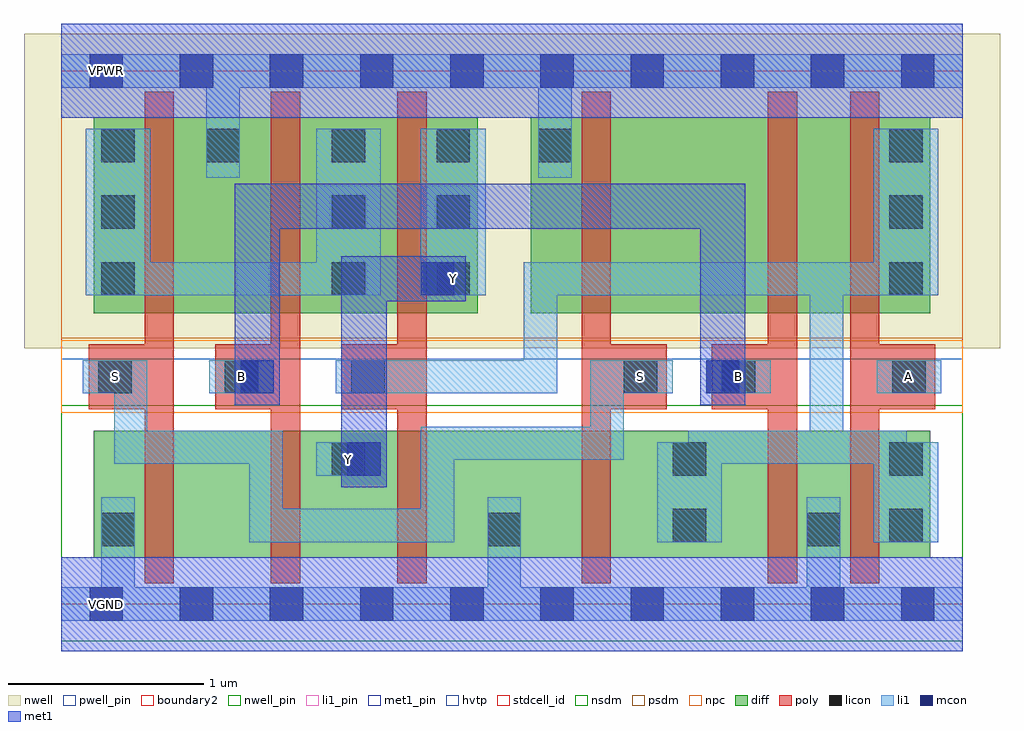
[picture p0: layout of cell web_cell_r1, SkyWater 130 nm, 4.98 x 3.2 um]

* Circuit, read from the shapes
.subckt web_cell_r1 A B S VGND VNB VPB VPWR Y
XM1 n1 S VGND VNB sky130_fd_pr__nfet_01v8 w=0.65 l=0.15
XM2 Y B n1 VNB sky130_fd_pr__nfet_01v8 w=0.65 l=0.15
XM3 VGND n2 Y VNB sky130_fd_pr__nfet_01v8 w=0.65 l=0.15
XM4 n2 S VGND VNB sky130_fd_pr__nfet_01v8 w=0.65 l=0.15
XM5 VGND B n2 VNB sky130_fd_pr__nfet_01v8 w=0.65 l=0.15
XM6 n2 A VGND VNB sky130_fd_pr__nfet_01v8 w=0.65 l=0.15
XM7 VPWR S n3 VPB sky130_fd_pr__pfet_01v8_hvt w=1 l=0.15
XM8 n3 B VPWR VPB sky130_fd_pr__pfet_01v8_hvt w=1 l=0.15
XM9 Y n2 n3 VPB sky130_fd_pr__pfet_01v8_hvt w=1 l=0.15
XM10 n4 S VPWR VPB sky130_fd_pr__pfet_01v8_hvt w=1 l=0.15
XM11 n5 B n4 VPB sky130_fd_pr__pfet_01v8_hvt w=1 l=0.15
XM12 n2 A n5 VPB sky130_fd_pr__pfet_01v8_hvt w=1 l=0.15
.ends

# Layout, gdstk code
import gdstk
lib = gdstk.Library(unit=1e-6, precision=1e-09)
def R(c, l, rs):  # rectangles x0, y0, x1, y1
    for r in rs: c.add(gdstk.rectangle(r[:2], r[2:], *l))
def A(c, l, x, y, w, h, nx, ny, dx, dy):  # array of equal rectangles
    R(c, l, [(x+i*dx, y+j*dy, x+i*dx+w, y+j*dy+h) for i in range(nx) for j in range(ny)])
nwell_pin = (64, 16)
nwell = (64, 20)
diff = (65, 20)
poly = (66, 20)
licon = (66, 44)
li1_pin = (67, 16)
li1 = (67, 20)
mcon = (67, 44)
met1_pin = (68, 16)
met1 = (68, 20)
hvtp = (78, 44)
stdcell_id = (81, 4)
nsdm = (93, 44)
psdm = (94, 20)
npc = (95, 20)
pwell_pin = (122, 16)
boundary2 = (236, 0)

web_cell_r1 = lib.new_cell('web_cell_r1')
R(web_cell_r1, nwell_pin, [(0.145,2.635,0.315,2.805)])
R(web_cell_r1, nwell, [(-0.19,1.305,4.79,2.91)])
R(web_cell_r1, diff, [(0.165,0.235,0.82,0.885), (0.82,0.235,1.47,0.885), (1.47,0.235,2.26,0.885), (2.26,0.235,3.205,0.885), (3.205,0.235,3.89,0.885), (3.89,0.235,4.435,0.885), (0.165,1.485,0.82,2.485), (0.82,1.485,1.47,2.485), (1.47,1.485,2.125,2.485), (2.395,1.485,3.205,2.485), (3.205,1.485,3.89,2.485), (3.89,1.485,4.435,2.485)])
A(web_cell_r1, poly, 0.425, 0.105, 0.15, 2.51, 3, 1, 0.645, 0)
A(web_cell_r1, poly, 0.14, 0.995, 0.435, 0.33, 3, 1, 0.645, 0)
R(web_cell_r1, poly, [(2.655,0.105,2.805,2.615), (3.605,0.105,3.755,2.615), (4.025,0.105,4.175,2.615), (2.655,0.995,3.09,1.325), (3.32,0.995,3.755,1.325), (4.025,0.995,4.46,1.325)])
A(web_cell_r1, licon, 0.19, 1.075, 0.17, 0.17, 3, 1, 0.645, 0)
A(web_cell_r1, licon, 0.205, 1.575, 0.17, 0.17, 1, 3, 0, 0.34)
A(web_cell_r1, licon, 1.38, 1.575, 0.17, 0.17, 1, 3, 0, 0.34)
A(web_cell_r1, licon, 1.915, 1.575, 0.17, 0.17, 1, 3, 0, 0.34)
A(web_cell_r1, licon, 4.225, 1.575, 0.17, 0.17, 1, 3, 0, 0.34)
R(web_cell_r1, licon, [(0.205,0.295,0.375,0.465), (2.175,0.295,2.345,0.465), (3.805,0.295,3.975,0.465), (3.12,0.315,3.29,0.485), (4.225,0.315,4.395,0.485), (1.38,0.655,1.55,0.825), (3.12,0.655,3.29,0.825), (4.225,0.655,4.395,0.825), (2.87,1.075,3.04,1.245), (3.37,1.075,3.54,1.245), (4.24,1.075,4.41,1.245), (0.74,2.255,0.91,2.425), (2.435,2.255,2.605,2.425)])
R(web_cell_r1, li1_pin, [(1.38,0.655,1.55,0.825), (0.19,1.075,0.36,1.245), (0.835,1.075,1.005,1.245), (2.87,1.075,3.04,1.245), (3.37,1.075,3.54,1.245), (4.24,1.075,4.41,1.245), (1.915,1.575,2.085,1.745)])
A(web_cell_r1, li1, 0.11, 1.075, 0.33, 0.17, 3, 1, 0.645, 0)
R(web_cell_r1, li1, [(0,-0.085,4.6,0.085), (0.205,-0.085,0.375,0.545), (2.175,-0.085,2.345,0.545), (3.805,-0.085,3.975,0.545), (0.96,0.315,1.13,0.885), (0.96,0.315,2.005,0.485), (1.835,0.315,2.005,0.905), (3.04,0.315,3.37,0.825), (4.145,0.315,4.475,0.825), (1.3,0.655,1.63,0.825), (3.04,0.655,3.37,0.825), (3.2,0.655,3.37,0.885), (4.145,0.655,4.475,0.825), (4.145,0.655,4.315,0.885), (0.27,0.715,0.44,1.245), (0.27,0.715,1.13,0.885), (3.2,0.715,3.99,0.885), (3.82,0.715,3.99,1.745), (3.82,0.715,4.315,0.885), (3.99,0.715,4.145,0.825), (3.99,0.715,4.145,0.825), (3.99,0.715,4.145,0.825), (3.99,0.715,4.145,0.825), (3.99,0.715,4.145,0.825), (3.99,0.715,4.145,0.825), (3.99,0.715,4.145,0.825), (3.99,0.715,4.145,0.825), (3.99,0.715,4.145,0.825), (3.99,0.715,4.145,0.825), (3.99,0.715,4.145,0.825), (3.99,0.715,4.145,0.825), (3.99,0.715,4.145,0.825), (3.99,0.715,4.145,0.825), (3.99,0.715,4.145,0.825), (3.99,0.715,4.145,0.825), (3.99,0.715,4.145,0.885), (3.99,0.715,4.145,0.885), (3.99,0.715,4.145,0.885), (3.99,0.715,4.145,0.885), (3.99,0.715,4.145,0.885), (3.99,0.715,4.145,0.885), (3.99,0.715,4.145,0.885), (3.99,0.715,4.145,0.885), (1.835,0.735,2.87,0.905), (2.7,0.735,2.87,1.245), (1.56,1.075,2.53,1.245), (2.36,1.075,2.53,1.745), (2.7,1.075,2.96,1.245), (2.79,1.075,3.12,1.245), (3.29,1.075,3.62,1.245), (4.16,1.075,4.49,1.245), (0.125,1.575,0.455,1.745), (0.125,1.575,0.455,2.085), (0.285,1.575,1.47,1.745), (1.3,1.575,1.63,1.745), (1.3,1.575,1.63,2.085), (1.835,1.575,2.165,1.745), (1.835,1.575,2.165,2.085), (2.36,1.575,4.315,1.745), (3.99,1.575,4.145,1.745), (3.99,1.575,4.145,1.745), (3.99,1.575,4.145,1.745), (3.99,1.575,4.145,1.745), (3.99,1.575,4.145,1.745), (3.99,1.575,4.145,1.745), (3.99,1.575,4.145,1.745), (3.99,1.575,4.145,1.745), (4.145,1.575,4.475,1.745), (4.145,1.575,4.475,2.085), (0.125,1.915,0.455,2.425), (1.3,1.915,1.63,2.425), (1.835,1.915,2.165,2.425), (4.145,1.915,4.475,2.425), (0.74,2.175,0.91,2.805), (2.435,2.175,2.605,2.805), (0,2.635,4.6,2.805)])
A(web_cell_r1, mcon, 0.145, -0.085, 0.17, 0.17, 10, 2, 0.46, 2.72)
R(web_cell_r1, mcon, [(1.46,0.655,1.63,0.825), (0.915,1.075,1.085,1.245), (3.29,1.075,3.46,1.245), (1.835,1.575,2.005,1.745)])
R(web_cell_r1, met1_pin, [(0.145,-0.085,0.315,0.085), (0.145,2.635,0.315,2.805)])
R(web_cell_r1, met1, [(0,-0.24,4.6,0.24), (1.43,0.595,1.66,0.885), (1.43,0.625,1.66,1.775), (0.885,1.015,1.115,1.305), (3.26,1.015,3.49,1.305), (0.885,1.045,1.115,2.145), (3.26,1.045,3.49,2.145), (1.43,1.545,2.035,1.775), (1.66,1.545,1.775,1.775), (1.66,1.545,1.775,1.775), (1.66,1.545,1.775,1.775), (1.66,1.545,1.775,1.775), (1.775,1.545,2.065,1.775), (0.885,1.915,3.49,2.145), (0,2.48,4.6,2.96)])
R(web_cell_r1, hvtp, [(0,1.25,4.6,2.72)])
R(web_cell_r1, stdcell_id, [(0,0,4.6,2.72)])
R(web_cell_r1, nsdm, [(0,-0.19,4.6,1.015)])
R(web_cell_r1, psdm, [(0,1.355,4.6,2.91)])
R(web_cell_r1, npc, [(0,0.975,4.6,1.345)])
R(web_cell_r1, pwell_pin, [(0.145,-0.085,0.315,0.085)])
R(web_cell_r1, boundary2, [(0,0,4.6,2.72)])
web_cell_r1.add(gdstk.Label('A', (4.325,1.16), layer=67, texttype=5))
web_cell_r1.add(gdstk.Label('B', (0.92,1.16), layer=67, texttype=5))
web_cell_r1.add(gdstk.Label('B', (3.455,1.16), layer=67, texttype=5))
web_cell_r1.add(gdstk.Label('S', (0.275,1.16), layer=67, texttype=5))
web_cell_r1.add(gdstk.Label('S', (2.955,1.16), layer=67, texttype=5))
web_cell_r1.add(gdstk.Label('Y', (1.465,0.74), layer=67, texttype=5))
web_cell_r1.add(gdstk.Label('Y', (2,1.66), layer=67, texttype=5))
web_cell_r1.add(gdstk.Label('VGND', (0.23,0), layer=68, texttype=5))
web_cell_r1.add(gdstk.Label('VPWR', (0.23,2.72), layer=68, texttype=5))
web_cell_r1.add(gdstk.Label('VPB', (0.23,2.72), layer=64, texttype=5))
web_cell_r1.add(gdstk.Label('VNB', (0.23,0), layer=64, texttype=59))

lib.write_gds('web_cell_r1.gds')
